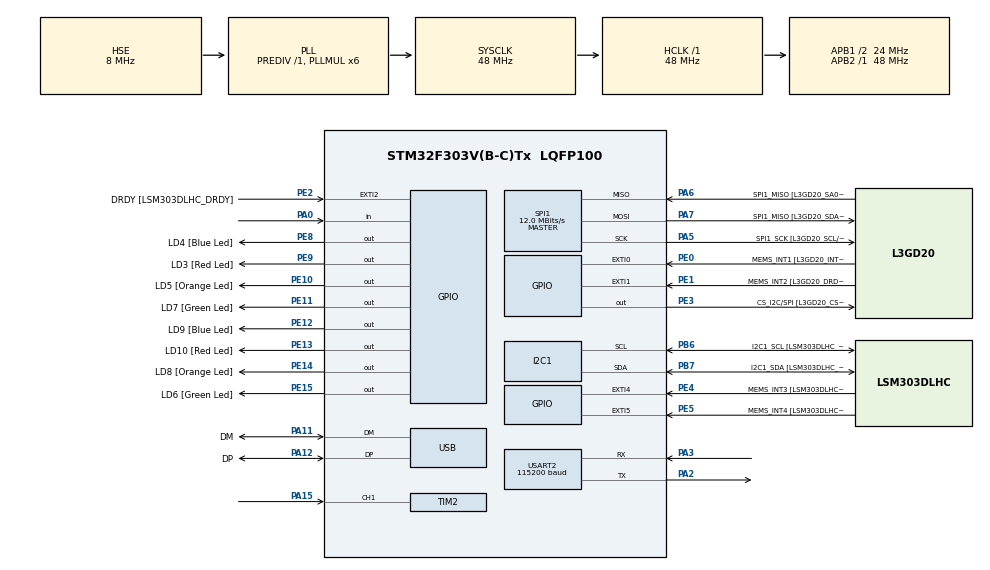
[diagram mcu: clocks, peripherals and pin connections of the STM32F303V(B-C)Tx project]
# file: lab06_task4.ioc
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I2C1.Timing=0x2000090E
I2C1.Timing-I2C=0x2000090E
Mcu.Family=STM32F3
Mcu.Name=STM32F303V(B-C)Tx
Mcu.Package=LQFP100
NVIC.PriorityGroup=NVIC_PRIORITYGROUP_0
NVIC.TIM2_IRQn=true\:0\:0\:false\:false\:true\:true\:true\:true
PA0.Signal=GPIO_Input
PA11.GPIO_Label=DM
PA11.Mode=Device
PA11.Signal=USB_DM
PA12.GPIO_Label=DP
PA12.Mode=Device
PA12.Signal=USB_DP
PA13.GPIO_Label=SWDIO
PA13.Mode=Serial_Wire
PA13.Signal=SYS_JTMS-SWDIO
PA14.GPIO_Label=SWCLK
PA14.Mode=Serial_Wire
PA14.Signal=SYS_JTCK-SWCLK
PA15.Signal=S_TIM2_CH1_ETR
PA2.Mode=Asynchronous
PA2.Signal=USART2_TX
PA3.Mode=Asynchronous
PA3.Signal=USART2_RX
PA5.GPIO_Label=SPI1_SCK [L3GD20_SCL/SPC]
PA5.Mode=Full_Duplex_Master
PA5.Signal=SPI1_SCK
PA6.GPIO_Label=SPI1_MISO [L3GD20_SA0/SDO]
PA6.Mode=Full_Duplex_Master
PA6.Signal=SPI1_MISO
PA7.GPIO_Label=SPI1_MISO [L3GD20_SDA/SDI/SDO]
PA7.Mode=Full_Duplex_Master
PA7.Signal=SPI1_MOSI
PB3.GPIO_Label=SWO
PB3.Signal=SYS_JTDO-TRACESWO
PB6.GPIO_Label=I2C1_SCL [LSM303DLHC_SCL]
PB6.GPIO_Pu=GPIO_PULLUP
PB6.Mode=I2C
PB6.Signal=I2C1_SCL
PB7.GPIO_Label=I2C1_SDA [LSM303DLHC_SDA]
PB7.GPIO_Pu=GPIO_PULLUP
PB7.Mode=I2C
PB7.Signal=I2C1_SDA
PC14-OSC32_IN.GPIO_Label=OSC32_IN
PC14-OSC32_IN.Signal=RCC_OSC32_IN
PC15-OSC32_OUT.GPIO_Label=OSC32_OUT
PC15-OSC32_OUT.Signal=RCC_OSC32_OUT
PE0.GPIO_Label=MEMS_INT1 [L3GD20_INT1]
PE0.GPIO_ModeDefaultEXTI=GPIO_MODE_EVT_RISING
PE0.Signal=GPXTI0
PE1.GPIO_Label=MEMS_INT2 [L3GD20_DRDY/INT2]
PE1.GPIO_ModeDefaultEXTI=GPIO_MODE_EVT_RISING
PE1.Signal=GPXTI1
PE10.GPIO_Label=LD5 [Orange Led]
PE10.Signal=GPIO_Output
PE11.GPIO_Label=LD7 [Green Led]
PE11.Signal=GPIO_Output
PE12.GPIO_Label=LD9 [Blue Led]
PE12.Signal=GPIO_Output
PE13.GPIO_Label=LD10 [Red Led]
PE13.Signal=GPIO_Output
PE14.GPIO_Label=LD8 [Orange Led]
PE14.Signal=GPIO_Output
PE15.GPIO_Label=LD6 [Green Led]
PE15.Signal=GPIO_Output
PE2.GPIO_Label=DRDY [LSM303DLHC_DRDY]
PE2.GPIO_ModeDefaultEXTI=GPIO_MODE_EVT_RISING
PE2.Signal=GPXTI2
PE3.GPIO_Label=CS_I2C/SPI [L3GD20_CS_I2C/SPI]
PE3.Signal=GPIO_Output
PE4.GPIO_Label=MEMS_INT3 [LSM303DLHC_INT1]
PE4.GPIO_ModeDefaultEXTI=GPIO_MODE_EVT_RISING
PE4.Signal=GPXTI4
PE5.GPIO_Label=MEMS_INT4 [LSM303DLHC_INT2]
PE5.GPIO_ModeDefaultEXTI=GPIO_MODE_EVT_RISING
PE5.Signal=GPXTI5
PE8.GPIO_Label=LD4 [Blue Led]
PE8.Signal=GPIO_Output
PE9.GPIO_Label=LD3 [Red Led]
PE9.Signal=GPIO_Output
PF0-OSC_IN.GPIO_Label=OSC_IN
PF0-OSC_IN.Mode=HSE-External-Clock-Source
PF0-OSC_IN.Signal=RCC_OSC_IN
PF1-OSC_OUT.GPIO_Label=OSC_OUT
PF1-OSC_OUT.Signal=RCC_OSC_OUT
ProjectManager.HeapSize=0x200
ProjectManager.StackSize=0x400
ProjectManager.TargetToolchain=CMake
RCC.AHBFreq_Value=48000000
RCC.APB1CLKDivider=RCC_HCLK_DIV2
RCC.APB1Freq_Value=24000000
RCC.APB1TimFreq_Value=48000000
RCC.APB2Freq_Value=48000000
RCC.APB2TimFreq_Value=48000000
RCC.CortexFreq_Value=48000000
RCC.HCLKFreq_Value=48000000
RCC.HSE_VALUE=8000000
RCC.HSI_VALUE=8000000
RCC.LSE_VALUE=32768
RCC.PLLMUL=RCC_PLL_MUL6
RCC.SYSCLKFreq_VALUE=48000000
RCC.SYSCLKSourceVirtual=RCC_SYSCLKSOURCE_PLLCLK
RCC.USBFreq_Value=48000000
SH.S_TIM2_CH1_ETR.0=TIM2_CH1,Input_Capture1_from_TI1
SPI1.BaudRatePrescaler=SPI_BAUDRATEPRESCALER_4
SPI1.BaudRatePrescaler-Full_Duplex_Master=SPI_BAUDRATEPRESCALER_2
SPI1.CalculateBaudRate=12.0 MBits/s
SPI1.CalculateBaudRate-Full_Duplex_Master=24.0 MBits/s
SPI1.Direction=SPI_DIRECTION_2LINES
SPI1.Mode=SPI_MODE_MASTER
SPI1.Mode-Full_Duplex_Master=SPI_MODE_MASTER
SPI1.VirtualType=VM_MASTER
TIM2.Channel-Input_Capture1_from_TI1=TIM_CHANNEL_1
TIM2.Prescaler=47
USART2.BaudRate=115200
USART2.VirtualMode-Asynchronous=VM_ASYNC
VP_TIM2_VS_ClockSourceINT.Mode=Internal
board=STM32F3DISCOVERY

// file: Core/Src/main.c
/* USER CODE BEGIN Header */
/**
  ******************************************************************************
  * @file           : main.c
  * @brief          : Main program body
  ******************************************************************************
  * @attention
  *
  * Copyright (c) 2026 STMicroelectronics.
  * All rights reserved.
  *
  * This software is licensed under terms that can be found in the LICENSE file
  * in the root directory of this software component.
  * If no LICENSE file comes with this software, it is provided AS-IS.
  *
  ******************************************************************************
  */
/* USER CODE END Header */
#include "main.h"

/* USER CODE BEGIN Includes */
#include <stdio.h>
#include <string.h>
#include <stdarg.h>
/* USER CODE END Includes */

/* USER CODE BEGIN PD */
#define SAMPLES     10
#define PPR         330
#define TICK_HZ     1000000.0f   // TIM2: 48 MHz / (47+1) = 1 MHz
#define TIMEOUT_MS  500
/* USER CODE END PD */

I2C_HandleTypeDef hi2c1;

SPI_HandleTypeDef hspi1;

TIM_HandleTypeDef htim2;

UART_HandleTypeDef huart2;

PCD_HandleTypeDef hpcd_USB_FS;

/* USER CODE BEGIN PV */
volatile uint32_t periods[SAMPLES];
volatile uint32_t lastCapture = 0;
volatile uint32_t lastEdgeTime = 0;
volatile uint8_t  idx = 0;
volatile uint8_t  firstCapture = 1;
volatile uint8_t  ready = 0;
/* USER CODE END PV */

void SystemClock_Config(void);
static void MX_GPIO_Init(void);
static void MX_I2C1_Init(void);
static void MX_SPI1_Init(void);
static void MX_TIM2_Init(void);
static void MX_USART2_UART_Init(void);
static void MX_USB_PCD_Init(void);

/* USER CODE BEGIN 0 */
/* ---------- UART print ---------- */
/* ---------- UART print ---------- */
void myPrintf(const char *fmt, ...){
  char buffer[100];
  va_list args;
  va_start(args, fmt);
  vsnprintf(buffer, sizeof(buffer), fmt, args);
  va_end(args);
  uint8_t length = strlen(buffer);
  HAL_UART_Transmit(&huart2, (uint8_t *)buffer, length, HAL_MAX_DELAY);
}

/* ---------- Encoder (input capture) ---------- */
void Encoder_Start(void) {
  HAL_TIM_IC_Start_IT(&htim2, TIM_CHANNEL_1);
}

uint32_t Encoder_GetAveragePeriod(void) {
  uint32_t sum = 0;
  for (int i = 0; i < SAMPLES; i++) sum += periods[i];
  return sum / SAMPLES;
}

int Encoder_IsStopped(void) {
  return (HAL_GetTick() - lastEdgeTime) > TIMEOUT_MS;
}

/* ---------- Calculations ---------- */
float Calc_Frequency(uint32_t avgPeriod_us) {
  return TICK_HZ / avgPeriod_us;
}

float Calc_RPM(float frequency) {
  return (60.0f * frequency) / PPR;
}
/* USER CODE END 0 */

int main(void)
{

  /* MCU Configuration--------------------------------------------------------*/

  /* Reset of all peripherals, Initializes the Flash interface and the Systick. */
  HAL_Init();

  /* Configure the system clock */
  SystemClock_Config();

  /* Initialize all configured peripherals */
  MX_GPIO_Init();
  MX_I2C1_Init();
  MX_SPI1_Init();
  MX_TIM2_Init();
  MX_USART2_UART_Init();
  MX_USB_PCD_Init();
  /* USER CODE BEGIN 2 */
Encoder_Start();
myPrintf("Task 4 started\r\n");
  /* USER CODE END 2 */

  /* Infinite loop */
  while (1)
  {

    /* USER CODE BEGIN 3 */

     if (ready == 1) {
      uint32_t avgPeriod = Encoder_GetAveragePeriod();
      float frequency = Calc_Frequency(avgPeriod);
      float rpm = Calc_RPM(frequency);
      myPrintf("Period: %lu us | Freq: %.2f Hz | RPM: %.2f\r\n", avgPeriod, frequency, rpm);
      ready = 0;                       // collect a new batch
    } else if (Encoder_IsStopped()) {
      myPrintf("No pulses - check encoder wiring\r\n");
    }
    //HAL_Delay(500);
  }
  /* USER CODE END 3 */
}

void SystemClock_Config(void)
{
  RCC_OscInitTypeDef RCC_OscInitStruct = {0};
  RCC_ClkInitTypeDef RCC_ClkInitStruct = {0};
  RCC_PeriphCLKInitTypeDef PeriphClkInit = {0};

  /** Initializes the RCC Oscillators according to the specified parameters
  * in the RCC_OscInitTypeDef structure.
  */
  RCC_OscInitStruct.OscillatorType = RCC_OSCILLATORTYPE_HSI|RCC_OSCILLATORTYPE_HSE;
  RCC_OscInitStruct.HSEState = RCC_HSE_BYPASS;
  RCC_OscInitStruct.HSEPredivValue = RCC_HSE_PREDIV_DIV1;
  RCC_OscInitStruct.HSIState = RCC_HSI_ON;
  RCC_OscInitStruct.HSICalibrationValue = RCC_HSICALIBRATION_DEFAULT;
  RCC_OscInitStruct.PLL.PLLState = RCC_PLL_ON;
  RCC_OscInitStruct.PLL.PLLSource = RCC_PLLSOURCE_HSE;
  RCC_OscInitStruct.PLL.PLLMUL = RCC_PLL_MUL6;
  if (HAL_RCC_OscConfig(&RCC_OscInitStruct) != HAL_OK)
  {
    Error_Handler();
  }

  /** Initializes the CPU, AHB and APB buses clocks
  */
  RCC_ClkInitStruct.ClockType = RCC_CLOCKTYPE_HCLK|RCC_CLOCKTYPE_SYSCLK
                              |RCC_CLOCKTYPE_PCLK1|RCC_CLOCKTYPE_PCLK2;
  RCC_ClkInitStruct.SYSCLKSource = RCC_SYSCLKSOURCE_PLLCLK;
  RCC_ClkInitStruct.AHBCLKDivider = RCC_SYSCLK_DIV1;
  RCC_ClkInitStruct.APB1CLKDivider = RCC_HCLK_DIV2;
  RCC_ClkInitStruct.APB2CLKDivider = RCC_HCLK_DIV1;

  if (HAL_RCC_ClockConfig(&RCC_ClkInitStruct, FLASH_LATENCY_1) != HAL_OK)
  {
    Error_Handler();
  }
  PeriphClkInit.PeriphClockSelection = RCC_PERIPHCLK_USB|RCC_PERIPHCLK_USART2
                              |RCC_PERIPHCLK_I2C1;
  PeriphClkInit.Usart2ClockSelection = RCC_USART2CLKSOURCE_PCLK1;
  PeriphClkInit.I2c1ClockSelection = RCC_I2C1CLKSOURCE_HSI;
  PeriphClkInit.USBClockSelection = RCC_USBCLKSOURCE_PLL;
  if (HAL_RCCEx_PeriphCLKConfig(&PeriphClkInit) != HAL_OK)
  {
    Error_Handler();
  }
}

static void MX_I2C1_Init(void)
{

  hi2c1.Instance = I2C1;
  hi2c1.Init.Timing = 0x2000090E;
  hi2c1.Init.OwnAddress1 = 0;
  hi2c1.Init.AddressingMode = I2C_ADDRESSINGMODE_7BIT;
  hi2c1.Init.DualAddressMode = I2C_DUALADDRESS_DISABLE;
  hi2c1.Init.OwnAddress2 = 0;
  hi2c1.Init.OwnAddress2Masks = I2C_OA2_NOMASK;
  hi2c1.Init.GeneralCallMode = I2C_GENERALCALL_DISABLE;
  hi2c1.Init.NoStretchMode = I2C_NOSTRETCH_DISABLE;
  if (HAL_I2C_Init(&hi2c1) != HAL_OK)
  {
    Error_Handler();
  }

  /** Configure Analogue filter
  */
  if (HAL_I2CEx_ConfigAnalogFilter(&hi2c1, I2C_ANALOGFILTER_ENABLE) != HAL_OK)
  {
    Error_Handler();
  }

  /** Configure Digital filter
  */
  if (HAL_I2CEx_ConfigDigitalFilter(&hi2c1, 0) != HAL_OK)
  {
    Error_Handler();
  }

}

static void MX_SPI1_Init(void)
{

  /* SPI1 parameter configuration*/
  hspi1.Instance = SPI1;
  hspi1.Init.Mode = SPI_MODE_MASTER;
  hspi1.Init.Direction = SPI_DIRECTION_2LINES;
  hspi1.Init.DataSize = SPI_DATASIZE_4BIT;
  hspi1.Init.CLKPolarity = SPI_POLARITY_LOW;
  hspi1.Init.CLKPhase = SPI_PHASE_1EDGE;
  hspi1.Init.NSS = SPI_NSS_SOFT;
  hspi1.Init.BaudRatePrescaler = SPI_BAUDRATEPRESCALER_4;
  hspi1.Init.FirstBit = SPI_FIRSTBIT_MSB;
  hspi1.Init.TIMode = SPI_TIMODE_DISABLE;
  hspi1.Init.CRCCalculation = SPI_CRCCALCULATION_DISABLE;
  hspi1.Init.CRCPolynomial = 7;
  hspi1.Init.CRCLength = SPI_CRC_LENGTH_DATASIZE;
  hspi1.Init.NSSPMode = SPI_NSS_PULSE_ENABLE;
  if (HAL_SPI_Init(&hspi1) != HAL_OK)
  {
    Error_Handler();
  }

}

static void MX_TIM2_Init(void)
{

  TIM_ClockConfigTypeDef sClockSourceConfig = {0};
  TIM_MasterConfigTypeDef sMasterConfig = {0};
  TIM_IC_InitTypeDef sConfigIC = {0};

  htim2.Instance = TIM2;
  htim2.Init.Prescaler = 47;
  htim2.Init.CounterMode = TIM_COUNTERMODE_UP;
  htim2.Init.Period = 4294967295;
  htim2.Init.ClockDivision = TIM_CLOCKDIVISION_DIV1;
  htim2.Init.AutoReloadPreload = TIM_AUTORELOAD_PRELOAD_DISABLE;
  if (HAL_TIM_Base_Init(&htim2) != HAL_OK)
  {
    Error_Handler();
  }
  sClockSourceConfig.ClockSource = TIM_CLOCKSOURCE_INTERNAL;
  if (HAL_TIM_ConfigClockSource(&htim2, &sClockSourceConfig) != HAL_OK)
  {
    Error_Handler();
  }
  if (HAL_TIM_IC_Init(&htim2) != HAL_OK)
  {
    Error_Handler();
  }
  sMasterConfig.MasterOutputTrigger = TIM_TRGO_RESET;
  sMasterConfig.MasterSlaveMode = TIM_MASTERSLAVEMODE_DISABLE;
  if (HAL_TIMEx_MasterConfigSynchronization(&htim2, &sMasterConfig) != HAL_OK)
  {
    Error_Handler();
  }
  sConfigIC.ICPolarity = TIM_INPUTCHANNELPOLARITY_RISING;
  sConfigIC.ICSelection = TIM_ICSELECTION_DIRECTTI;
  sConfigIC.ICPrescaler = TIM_ICPSC_DIV1;
  sConfigIC.ICFilter = 0;
  if (HAL_TIM_IC_ConfigChannel(&htim2, &sConfigIC, TIM_CHANNEL_1) != HAL_OK)
  {
    Error_Handler();
  }

}

static void MX_USART2_UART_Init(void)
{

  huart2.Instance = USART2;
  huart2.Init.BaudRate = 115200;
  huart2.Init.WordLength = UART_WORDLENGTH_8B;
  huart2.Init.StopBits = UART_STOPBITS_1;
  huart2.Init.Parity = UART_PARITY_NONE;
  huart2.Init.Mode = UART_MODE_TX_RX;
  huart2.Init.HwFlowCtl = UART_HWCONTROL_NONE;
  huart2.Init.OverSampling = UART_OVERSAMPLING_16;
  huart2.Init.OneBitSampling = UART_ONE_BIT_SAMPLE_DISABLE;
  huart2.AdvancedInit.AdvFeatureInit = UART_ADVFEATURE_NO_INIT;
  if (HAL_UART_Init(&huart2) != HAL_OK)
  {
    Error_Handler();
  }

}

static void MX_USB_PCD_Init(void)
{

  hpcd_USB_FS.Instance = USB;
  hpcd_USB_FS.Init.dev_endpoints = 8;
  hpcd_USB_FS.Init.speed = PCD_SPEED_FULL;
  hpcd_USB_FS.Init.phy_itface = PCD_PHY_EMBEDDED;
  hpcd_USB_FS.Init.low_power_enable = DISABLE;
  hpcd_USB_FS.Init.battery_charging_enable = DISABLE;
  if (HAL_PCD_Init(&hpcd_USB_FS) != HAL_OK)
  {
    Error_Handler();
  }

}

static void MX_GPIO_Init(void)
{
  GPIO_InitTypeDef GPIO_InitStruct = {0};

  /* GPIO Ports Clock Enable */
  __HAL_RCC_GPIOE_CLK_ENABLE();
  __HAL_RCC_GPIOC_CLK_ENABLE();
  __HAL_RCC_GPIOF_CLK_ENABLE();
  __HAL_RCC_GPIOA_CLK_ENABLE();
  __HAL_RCC_GPIOB_CLK_ENABLE();

  /*Configure GPIO pin Output Level */
  HAL_GPIO_WritePin(GPIOE, CS_I2C_SPI_Pin|LD4_Pin|LD3_Pin|LD5_Pin
                          |LD7_Pin|LD9_Pin|LD10_Pin|LD8_Pin
                          |LD6_Pin, GPIO_PIN_RESET);

  /*Configure GPIO pins : DRDY_Pin MEMS_INT3_Pin MEMS_INT4_Pin MEMS_INT1_Pin
                           MEMS_INT2_Pin */
  GPIO_InitStruct.Pin = DRDY_Pin|MEMS_INT3_Pin|MEMS_INT4_Pin|MEMS_INT1_Pin
                          |MEMS_INT2_Pin;
  GPIO_InitStruct.Mode = GPIO_MODE_EVT_RISING;
  GPIO_InitStruct.Pull = GPIO_NOPULL;
  HAL_GPIO_Init(GPIOE, &GPIO_InitStruct);

  /*Configure GPIO pins : CS_I2C_SPI_Pin LD4_Pin LD3_Pin LD5_Pin
                           LD7_Pin LD9_Pin LD10_Pin LD8_Pin
                           LD6_Pin */
  GPIO_InitStruct.Pin = CS_I2C_SPI_Pin|LD4_Pin|LD3_Pin|LD5_Pin
                          |LD7_Pin|LD9_Pin|LD10_Pin|LD8_Pin
                          |LD6_Pin;
  GPIO_InitStruct.Mode = GPIO_MODE_OUTPUT_PP;
  GPIO_InitStruct.Pull = GPIO_NOPULL;
  GPIO_InitStruct.Speed = GPIO_SPEED_FREQ_LOW;
  HAL_GPIO_Init(GPIOE, &GPIO_InitStruct);

  /*Configure GPIO pin : PA0 */
  GPIO_InitStruct.Pin = GPIO_PIN_0;
  GPIO_InitStruct.Mode = GPIO_MODE_INPUT;
  GPIO_InitStruct.Pull = GPIO_NOPULL;
  HAL_GPIO_Init(GPIOA, &GPIO_InitStruct);

}

/* USER CODE BEGIN 4 */
void HAL_TIM_IC_CaptureCallback(TIM_HandleTypeDef *htim)
{
  if (htim->Instance != TIM2) return;

  uint32_t now = HAL_TIM_ReadCapturedValue(htim, TIM_CHANNEL_1);
  lastEdgeTime = HAL_GetTick();

  if (firstCapture) {              // 1st edge: nothing to subtract yet
    lastCapture = now;
    firstCapture = 0;
    return;
  }

  if (ready == 0) {                // don't overwrite while main is printing
    periods[idx++] = now - lastCapture;
    if (idx >= SAMPLES) { idx = 0; ready = 1; }
  }
  lastCapture = now;
}
/* USER CODE END 4 */

void Error_Handler(void)
{
  __disable_irq();
  while (1)
  {
  }
}
